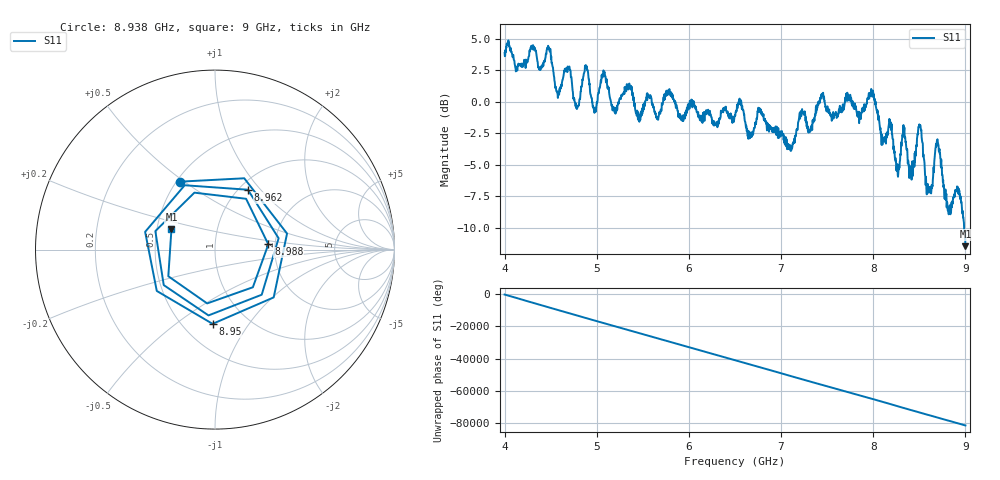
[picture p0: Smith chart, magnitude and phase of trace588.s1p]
! Created with skrf 1.8.0 (http://scikit-rf.org).
# Hz S RI R 50.0
!freq ReS11 ImS11
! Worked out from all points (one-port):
!   1601 points, 4 GHz to 9 GHz, reference 50 ohm
!   lowest |S11| = -11.5 dB at 9 GHz (marker M1), VSWR 1.73, Z = 29.8 + j7.19 ohm
!   |S11| at or under -10 dB: 8.985825 GHz to end of sweep
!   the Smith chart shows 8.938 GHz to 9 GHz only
!   S11 on the Smith chart (normalised r, x): 8.938 GHz: 0.52, +0.48; 8.95 GHz: 0.69, -0.69; 8.962 GHz: 1.10, +0.86; 8.988 GHz: 1.84, +0.12; 9 GHz: 0.60, +0.14
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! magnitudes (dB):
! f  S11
! 4 GHz  3.9
! 4.475 GHz  4.2
! 4.566 GHz  0.8
! 4.625 GHz  1.6
! 4.784 GHz  -0.6
! 4.881 GHz  2.9
! 5.25 GHz  0.2
! 5.875 GHz  -0.7
! 6.5 GHz  -1.0
! 7.125 GHz  -3.3
! 7.441 GHz  0.6
! 7.75 GHz  0.6
! 7.991 GHz  0.4
! 8.1 GHz  -3.4
! 8.191 GHz  -1.6
! 8.259 GHz  -5.5
! 8.328 GHz  -1.9
! 8.375 GHz  -4.9
! 8.422 GHz  -5.7
! 8.503 GHz  -1.9
! 8.603 GHz  -7.2
! 8.697 GHz  -3.0
! 8.822 GHz  -8.7
! 8.938 GHz  -7.4
! 8.95 GHz  -7.7
! 8.962 GHz  -8.4
! 8.988 GHz  -10.5
! 9 GHz  -11.5
